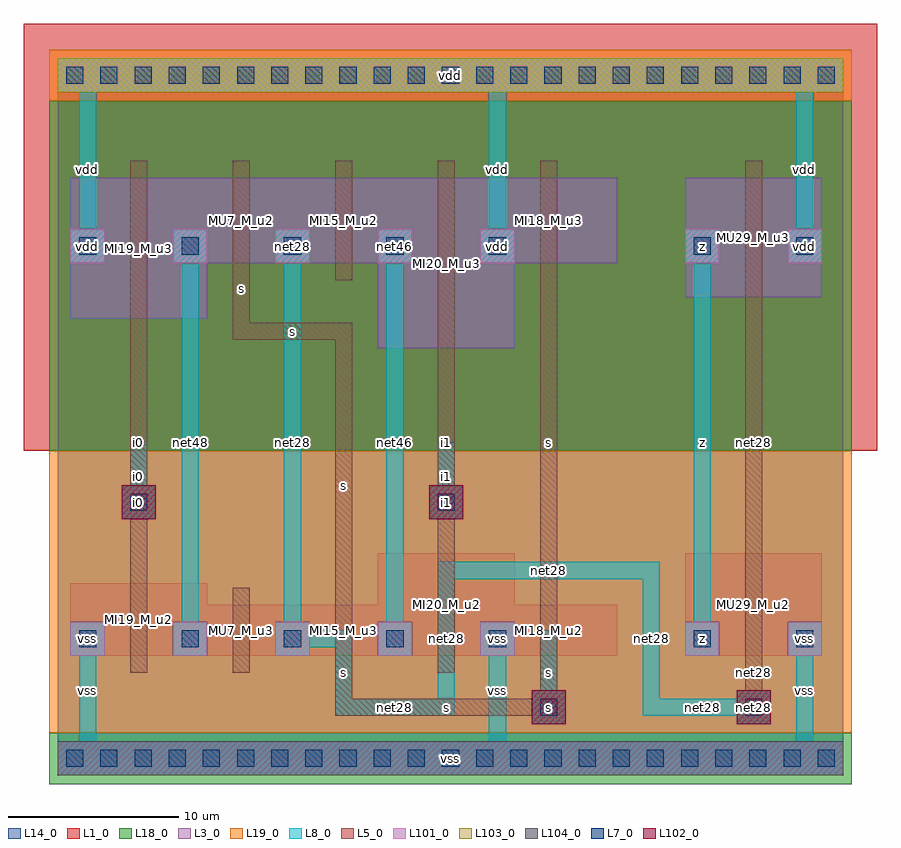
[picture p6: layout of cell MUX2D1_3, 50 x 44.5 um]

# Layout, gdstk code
import gdstk
lib = gdstk.Library(unit=1e-6, precision=1e-09)
def R(c, l, rs):  # rectangles x0, y0, x1, y1
    for r in rs: c.add(gdstk.rectangle(r[:2], r[2:], *l))
def A(c, l, x, y, w, h, nx, ny, dx, dy):  # array of equal rectangles
    R(c, l, [(x+i*dx, y+j*dy, x+i*dx+w, y+j*dy+h) for i in range(nx) for j in range(ny)])
L1_0 = (1, 0)
L3_0 = (3, 0)
L5_0 = (5, 0)
L7_0 = (7, 0)
L8_0 = (8, 0)
L13_0 = (13, 0)
L14_0 = (14, 0)
L18_0 = (18, 0)
L19_0 = (19, 0)
L101_0 = (101, 0)
L102_0 = (102, 0)
L103_0 = (103, 0)
L104_0 = (104, 0)

mux2d1_3 = lib.new_cell('MUX2D1_3')
R(mux2d1_3, L1_0, [(-2,18,48,43)])
A(mux2d1_3, L3_0, 0.75, 6, 2, 2, 5, 2, 6, 23)
R(mux2d1_3, L3_0, [(0,-1,46,1), (0,-1,46,1), (0.75,6,8.75,10.25), (6.75,6,14.75,9), (12.75,6,20.75,9), (18.75,6,26.75,12), (24.75,6,32.75,9), (36.75,6,44.75,12), (36.75,6,38.75,8), (42.75,6,44.75,8), (18.75,24,26.75,34), (0.75,25.75,8.75,34), (36.75,27,44.75,34), (6.75,29,14.75,34), (12.75,29,20.75,34), (24.75,29,32.75,34), (36.75,29,38.75,31), (42.75,29,44.75,31), (0,39,46,41), (0,39,46,41)])
A(mux2d1_3, L5_0, 16.25, 2.5, 1, 5, 3, 1, 12, 0)
R(mux2d1_3, L5_0, [(27.75,2,29.75,4), (39.75,2,41.75,4), (16.25,2.5,29.25,3.5), (4.25,5,5.25,11.25), (10.25,5,11.25,10), (16.25,5,17.25,10), (22.25,5,23.25,13), (28.25,5,29.25,10), (40.25,5,41.25,13), (4.25,6.5,5.25,30.5), (16.25,6.5,17.25,25.5), (22.25,6.5,23.25,30.5), (28.25,6.5,29.25,30.5), (40.25,6.5,41.25,30.5), (3.75,14,5.75,16), (21.75,14,23.75,16), (22.25,23,23.25,35), (10.25,24.5,17.25,25.5), (10.25,24.5,11.25,30.5), (4.25,24.75,5.25,35), (40.25,26,41.25,35), (10.25,28,11.25,35), (16.25,28,17.25,35), (28.25,28,29.25,35)])
A(mux2d1_3, L7_0, 0.5, -0.5, 1, 1, 23, 2, 2, 40)
A(mux2d1_3, L7_0, 1.25, 6.5, 1, 1, 5, 2, 6, 23)
R(mux2d1_3, L7_0, [(28.25,2.5,29.25,3.5), (40.25,2.5,41.25,3.5), (37.25,6.5,38.25,7.5), (43.25,6.5,44.25,7.5), (4.25,14.5,5.25,15.5), (22.25,14.5,23.25,15.5), (37.25,29.5,38.25,30.5), (43.25,29.5,44.25,30.5)])
A(mux2d1_3, L8_0, 0.75, 6, 2, 2, 5, 2, 6, 23)
A(mux2d1_3, L8_0, 7.25, 6.5, 1, 24, 3, 1, 6, 0)
R(mux2d1_3, L8_0, [(0,-1,46,1), (1.25,0.5,2.25,7.5), (25.25,0.5,26.25,7.5), (43.25,0.5,44.25,7.5), (27.75,2,29.75,4), (39.75,2,41.75,4), (16.25,2.5,17.25,7.5), (16.25,2.5,23.25,3.5), (22.25,2.5,23.25,11.5), (28.25,2.5,29.25,7.5), (34.25,2.5,41.25,3.5), (34.25,2.5,35.25,11.5), (36.75,6,38.75,8), (42.75,6,44.75,8), (13.25,6.5,17.25,7.5), (37.25,6.5,38.25,30.5), (22.25,10.5,35.25,11.5), (3.75,14,5.75,16), (21.75,14,23.75,16), (4.25,14.5,5.25,18.5), (22.25,14.5,23.25,18.5), (36.75,29,38.75,31), (42.75,29,44.75,31), (1.25,29.5,2.25,39.5), (25.25,29.5,26.25,39.5), (43.25,29.5,44.25,39.5), (0,39,46,41)])
R(mux2d1_3, L14_0, [(0,0,46,40)])
R(mux2d1_3, L18_0, [(-0.5,-1.5,46.5,1.5), (-0.5,18,46.5,38.5)])
R(mux2d1_3, L19_0, [(-0.5,1.5,46.5,18), (-0.5,38.5,46.5,41.5)])
A(mux2d1_3, L101_0, 0, -1, 2, 2, 23, 2, 2, 40)
A(mux2d1_3, L101_0, 0.75, 6, 2, 2, 5, 2, 6, 23)
R(mux2d1_3, L101_0, [(36.75,6,38.75,8), (42.75,6,44.75,8), (36.75,29,38.75,31), (42.75,29,44.75,31)])
R(mux2d1_3, L102_0, [(27.75,2,29.75,4), (39.75,2,41.75,4), (3.75,14,5.75,16), (21.75,14,23.75,16)])
R(mux2d1_3, L103_0, [(0,39,46,41)])
R(mux2d1_3, L104_0, [(0,-1,46,1)])
mux2d1_3.add(gdstk.FlexPath([(0.75,3),(44.75,3)], 0, ends="flush", simple_path=True, layer=13, datatype=0))  # L13_0
mux2d1_3.add(gdstk.FlexPath([(0.75,7),(44.75,7)], 0, ends="flush", simple_path=True, layer=13, datatype=0))  # L13_0
mux2d1_3.add(gdstk.FlexPath([(0.75,11),(44.75,11)], 0, ends="flush", simple_path=True, layer=13, datatype=0))  # L13_0
mux2d1_3.add(gdstk.FlexPath([(0.75,15),(44.75,15)], 0, ends="flush", simple_path=True, layer=13, datatype=0))  # L13_0
mux2d1_3.add(gdstk.FlexPath([(0.75,18),(44.75,18)], 0, ends="flush", simple_path=True, layer=13, datatype=0))  # L13_0
mux2d1_3.add(gdstk.FlexPath([(0.75,21),(44.75,21)], 0, ends="flush", simple_path=True, layer=13, datatype=0))  # L13_0
mux2d1_3.add(gdstk.FlexPath([(0.75,25),(44.75,25)], 0, ends="flush", simple_path=True, layer=13, datatype=0))  # L13_0
mux2d1_3.add(gdstk.FlexPath([(0.75,30),(44.75,30)], 0, ends="flush", simple_path=True, layer=13, datatype=0))  # L13_0
mux2d1_3.add(gdstk.FlexPath([(0.75,33),(44.75,33)], 0, ends="flush", simple_path=True, layer=13, datatype=0))  # L13_0
mux2d1_3.add(gdstk.FlexPath([(0.75,37),(44.75,37)], 0, ends="flush", simple_path=True, layer=13, datatype=0))  # L13_0
mux2d1_3.add(gdstk.FlexPath([(1.75,0.5),(1.75,39.5)], 0, ends="flush", simple_path=True, layer=13, datatype=0))  # L13_0
mux2d1_3.add(gdstk.FlexPath([(4.75,0.5),(4.75,39.5)], 0, ends="flush", simple_path=True, layer=13, datatype=0))  # L13_0
mux2d1_3.add(gdstk.FlexPath([(7.75,0.5),(7.75,39.5)], 0, ends="flush", simple_path=True, layer=13, datatype=0))  # L13_0
mux2d1_3.add(gdstk.FlexPath([(10.75,0.5),(10.75,39.5)], 0, ends="flush", simple_path=True, layer=13, datatype=0))  # L13_0
mux2d1_3.add(gdstk.FlexPath([(13.75,0.5),(13.75,39.5)], 0, ends="flush", simple_path=True, layer=13, datatype=0))  # L13_0
mux2d1_3.add(gdstk.FlexPath([(16.75,0.5),(16.75,39.5)], 0, ends="flush", simple_path=True, layer=13, datatype=0))  # L13_0
mux2d1_3.add(gdstk.FlexPath([(19.75,0.5),(19.75,39.5)], 0, ends="flush", simple_path=True, layer=13, datatype=0))  # L13_0
mux2d1_3.add(gdstk.FlexPath([(22.75,0.5),(22.75,39.5)], 0, ends="flush", simple_path=True, layer=13, datatype=0))  # L13_0
mux2d1_3.add(gdstk.FlexPath([(25.75,0.5),(25.75,39.5)], 0, ends="flush", simple_path=True, layer=13, datatype=0))  # L13_0
mux2d1_3.add(gdstk.FlexPath([(28.75,0.5),(28.75,39.5)], 0, ends="flush", simple_path=True, layer=13, datatype=0))  # L13_0
mux2d1_3.add(gdstk.FlexPath([(31.75,0.5),(31.75,39.5)], 0, ends="flush", simple_path=True, layer=13, datatype=0))  # L13_0
mux2d1_3.add(gdstk.FlexPath([(34.75,0.5),(34.75,39.5)], 0, ends="flush", simple_path=True, layer=13, datatype=0))  # L13_0
mux2d1_3.add(gdstk.FlexPath([(37.75,0.5),(37.75,39.5)], 0, ends="flush", simple_path=True, layer=13, datatype=0))  # L13_0
mux2d1_3.add(gdstk.FlexPath([(40.75,0.5),(40.75,39.5)], 0, ends="flush", simple_path=True, layer=13, datatype=0))  # L13_0
mux2d1_3.add(gdstk.FlexPath([(43.75,0.5),(43.75,39.5)], 0, ends="flush", simple_path=True, layer=13, datatype=0))  # L13_0
mux2d1_3.add(gdstk.Label('MI15_M_u3', (16.75,7.5), layer=3, texttype=0))
mux2d1_3.add(gdstk.Label('MU7_M_u3', (10.75,7.5), layer=3, texttype=0))
mux2d1_3.add(gdstk.Label('MI20_M_u2', (22.75,9), layer=3, texttype=0))
mux2d1_3.add(gdstk.Label('MI19_M_u2', (4.75,8.125), layer=3, texttype=0))
mux2d1_3.add(gdstk.Label('MI18_M_u2', (28.75,7.5), layer=3, texttype=0))
mux2d1_3.add(gdstk.Label('MU29_M_u2', (40.75,9), layer=3, texttype=0))
mux2d1_3.add(gdstk.Label('MI15_M_u2', (16.75,31.5), layer=3, texttype=0))
mux2d1_3.add(gdstk.Label('MU7_M_u2', (10.75,31.5), layer=3, texttype=0))
mux2d1_3.add(gdstk.Label('MI20_M_u3', (22.75,29), layer=3, texttype=0))
mux2d1_3.add(gdstk.Label('MI19_M_u3', (4.75,29.875), layer=3, texttype=0))
mux2d1_3.add(gdstk.Label('MI18_M_u3', (28.75,31.5), layer=3, texttype=0))
mux2d1_3.add(gdstk.Label('MU29_M_u3', (40.75,30.5), layer=3, texttype=0))
mux2d1_3.add(gdstk.Label('net46', (19.75,7), layer=3, texttype=0))
mux2d1_3.add(gdstk.Label('net46', (19.75,30), layer=3, texttype=0))
mux2d1_3.add(gdstk.Label('net28', (13.75,7), layer=3, texttype=0))
mux2d1_3.add(gdstk.Label('net28', (13.75,30), layer=3, texttype=0))
mux2d1_3.add(gdstk.Label('net48', (7.75,7), layer=3, texttype=0))
mux2d1_3.add(gdstk.Label('net48', (7.75,30), layer=3, texttype=0))
mux2d1_3.add(gdstk.Label('z', (37.75,7), layer=3, texttype=0))
mux2d1_3.add(gdstk.Label('z', (37.75,30), layer=3, texttype=0))
mux2d1_3.add(gdstk.Label('vss', (25.75,7), layer=3, texttype=0))
mux2d1_3.add(gdstk.Label('vss', (1.75,7), layer=3, texttype=0))
mux2d1_3.add(gdstk.Label('vss', (43.75,7), layer=3, texttype=0))
mux2d1_3.add(gdstk.Label('vdd', (25.75,30), layer=3, texttype=0))
mux2d1_3.add(gdstk.Label('vdd', (1.75,30), layer=3, texttype=0))
mux2d1_3.add(gdstk.Label('vdd', (43.75,30), layer=3, texttype=0))
mux2d1_3.add(gdstk.Label('s', (16.75,5), layer=5, texttype=0))
mux2d1_3.add(gdstk.Label('s', (22.75,3), layer=5, texttype=0))
mux2d1_3.add(gdstk.Label('s', (28.75,5), layer=5, texttype=0))
mux2d1_3.add(gdstk.Label('s', (16.75,16), layer=5, texttype=0))
mux2d1_3.add(gdstk.Label('s', (13.75,25), layer=5, texttype=0))
mux2d1_3.add(gdstk.Label('s', (10.75,27.5), layer=5, texttype=0))
mux2d1_3.add(gdstk.Label('s', (28.75,18.5), layer=5, texttype=0))
mux2d1_3.add(gdstk.Label('s', (28.75,3), layer=5, texttype=0))
mux2d1_3.add(gdstk.Label('net28', (40.75,3), layer=5, texttype=0))
mux2d1_3.add(gdstk.Label('net28', (40.75,5), layer=5, texttype=0))
mux2d1_3.add(gdstk.Label('net28', (40.75,18.5), layer=5, texttype=0))
mux2d1_3.add(gdstk.Label('i1', (22.75,18.5), layer=5, texttype=0))
mux2d1_3.add(gdstk.Label('i1', (22.75,15), layer=5, texttype=0))
mux2d1_3.add(gdstk.Label('i0', (4.75,18.5), layer=5, texttype=0))
mux2d1_3.add(gdstk.Label('i0', (4.75,15), layer=5, texttype=0))
mux2d1_3.add(gdstk.Label('net46', (19.75,7), layer=101, texttype=0))
mux2d1_3.add(gdstk.Label('net46', (19.75,30), layer=101, texttype=0))
mux2d1_3.add(gdstk.Label('net28', (13.75,7), layer=101, texttype=0))
mux2d1_3.add(gdstk.Label('net28', (13.75,30), layer=101, texttype=0))
mux2d1_3.add(gdstk.Label('net48', (7.75,7), layer=101, texttype=0))
mux2d1_3.add(gdstk.Label('net48', (7.75,30), layer=101, texttype=0))
mux2d1_3.add(gdstk.Label('z', (37.75,7), layer=101, texttype=0))
mux2d1_3.add(gdstk.Label('z', (37.75,30), layer=101, texttype=0))
mux2d1_3.add(gdstk.Label('vss', (25.75,7), layer=101, texttype=0))
mux2d1_3.add(gdstk.Label('vss', (1.75,7), layer=101, texttype=0))
mux2d1_3.add(gdstk.Label('vss', (43.75,7), layer=101, texttype=0))
mux2d1_3.add(gdstk.Label('vdd', (25.75,30), layer=101, texttype=0))
mux2d1_3.add(gdstk.Label('vdd', (1.75,30), layer=101, texttype=0))
mux2d1_3.add(gdstk.Label('vdd', (43.75,30), layer=101, texttype=0))
mux2d1_3.add(gdstk.Label('s', (28.75,3), layer=102, texttype=0))
mux2d1_3.add(gdstk.Label('net28', (40.75,3), layer=102, texttype=0))
mux2d1_3.add(gdstk.Label('i1', (22.75,15), layer=102, texttype=0))
mux2d1_3.add(gdstk.Label('i0', (4.75,15), layer=102, texttype=0))
mux2d1_3.add(gdstk.Label('net46', (19.75,7), layer=8, texttype=0))
mux2d1_3.add(gdstk.Label('net46', (19.75,30), layer=8, texttype=0))
mux2d1_3.add(gdstk.Label('net46', (19.75,18.5), layer=8, texttype=0))
mux2d1_3.add(gdstk.Label('s', (28.75,3), layer=8, texttype=0))
mux2d1_3.add(gdstk.Label('s', (28.75,5), layer=8, texttype=0))
mux2d1_3.add(gdstk.Label('net28', (13.75,7), layer=8, texttype=0))
mux2d1_3.add(gdstk.Label('net28', (13.75,30), layer=8, texttype=0))
mux2d1_3.add(gdstk.Label('net28', (15.25,7), layer=8, texttype=0))
mux2d1_3.add(gdstk.Label('net28', (16.75,5), layer=8, texttype=0))
mux2d1_3.add(gdstk.Label('net28', (19.75,3), layer=8, texttype=0))
mux2d1_3.add(gdstk.Label('net28', (22.75,7), layer=8, texttype=0))
mux2d1_3.add(gdstk.Label('net28', (28.75,11), layer=8, texttype=0))
mux2d1_3.add(gdstk.Label('net28', (34.75,7), layer=8, texttype=0))
mux2d1_3.add(gdstk.Label('net28', (37.75,3), layer=8, texttype=0))
mux2d1_3.add(gdstk.Label('net28', (40.75,3), layer=8, texttype=0))
mux2d1_3.add(gdstk.Label('net28', (13.75,18.5), layer=8, texttype=0))
mux2d1_3.add(gdstk.Label('net48', (7.75,7), layer=8, texttype=0))
mux2d1_3.add(gdstk.Label('net48', (7.75,30), layer=8, texttype=0))
mux2d1_3.add(gdstk.Label('net48', (7.75,18.5), layer=8, texttype=0))
mux2d1_3.add(gdstk.Label('i1', (22.75,15), layer=8, texttype=0))
mux2d1_3.add(gdstk.Label('i1', (22.75,16.5), layer=8, texttype=0))
mux2d1_3.add(gdstk.Label('i0', (4.75,15), layer=8, texttype=0))
mux2d1_3.add(gdstk.Label('i0', (4.75,16.5), layer=8, texttype=0))
mux2d1_3.add(gdstk.Label('z', (37.75,7), layer=8, texttype=0))
mux2d1_3.add(gdstk.Label('z', (37.75,30), layer=8, texttype=0))
mux2d1_3.add(gdstk.Label('z', (37.75,18.5), layer=8, texttype=0))
mux2d1_3.add(gdstk.Label('vss', (25.75,7), layer=8, texttype=0))
mux2d1_3.add(gdstk.Label('vss', (25.75,4), layer=8, texttype=0))
mux2d1_3.add(gdstk.Label('vss', (1.75,7), layer=8, texttype=0))
mux2d1_3.add(gdstk.Label('vss', (1.75,4), layer=8, texttype=0))
mux2d1_3.add(gdstk.Label('vss', (43.75,7), layer=8, texttype=0))
mux2d1_3.add(gdstk.Label('vss', (43.75,4), layer=8, texttype=0))
mux2d1_3.add(gdstk.Label('vdd', (25.75,30), layer=8, texttype=0))
mux2d1_3.add(gdstk.Label('vdd', (25.75,34.5), layer=8, texttype=0))
mux2d1_3.add(gdstk.Label('vdd', (1.75,30), layer=8, texttype=0))
mux2d1_3.add(gdstk.Label('vdd', (1.75,34.5), layer=8, texttype=0))
mux2d1_3.add(gdstk.Label('vdd', (43.75,30), layer=8, texttype=0))
mux2d1_3.add(gdstk.Label('vdd', (43.75,34.5), layer=8, texttype=0))
mux2d1_3.add(gdstk.Label('vss', (23,0), layer=8, texttype=0))
mux2d1_3.add(gdstk.Label('vdd', (23,40), layer=8, texttype=0))

lib.write_gds('MUX2D1_3.gds')
